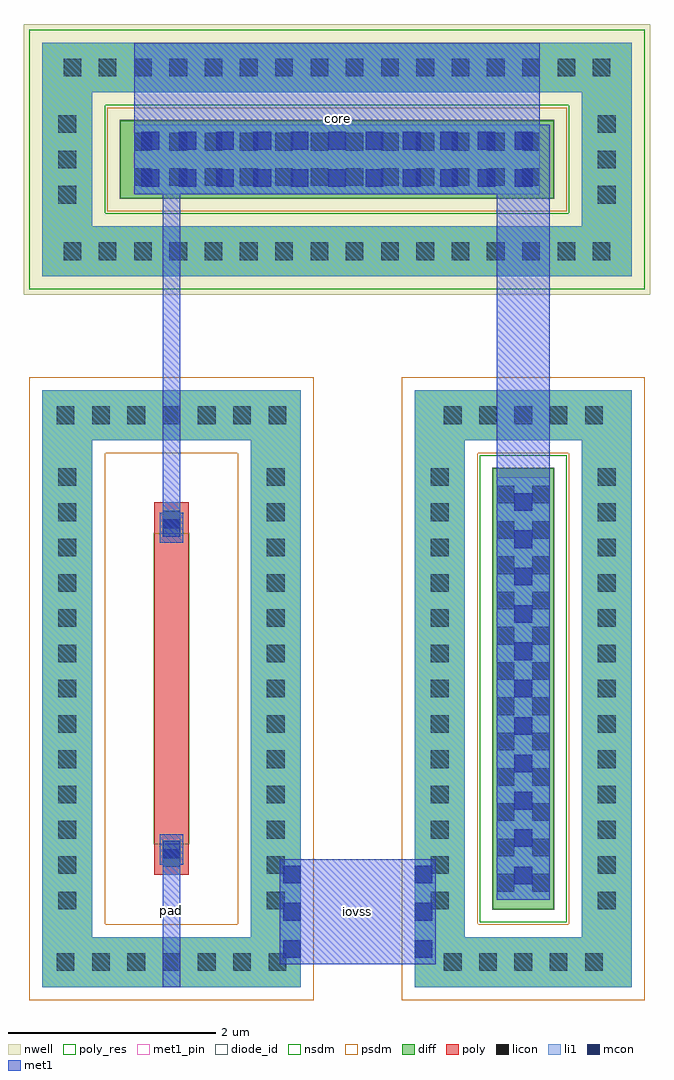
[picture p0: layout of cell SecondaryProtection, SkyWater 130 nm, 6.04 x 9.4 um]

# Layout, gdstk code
import gdstk
lib = gdstk.Library(unit=1e-6, precision=1e-09)
def R(c, l, rs):  # rectangles x0, y0, x1, y1
    for r in rs: c.add(gdstk.rectangle(r[:2], r[2:], *l))
def A(c, l, x, y, w, h, nx, ny, dx, dy):  # array of equal rectangles
    R(c, l, [(x+i*dx, y+j*dy, x+i*dx+w, y+j*dy+h) for i in range(nx) for j in range(ny)])
def P(c, l, *ps):  # polygons
    for p in ps: c.add(gdstk.Polygon(p, *l))
nwell = (64, 20)
diff = (65, 20)
poly_res = (66, 13)
poly = (66, 20)
licon = (66, 44)
li1 = (67, 20)
mcon = (67, 44)
met1_pin = (68, 16)
met1 = (68, 20)
diode_id = (81, 23)
nsdm = (93, 44)
psdm = (94, 20)

secondaryprotection = lib.new_cell('SecondaryProtection')
R(secondaryprotection, nwell, [(-0.18,6.67,5.86,9.28)])
R(secondaryprotection, diff, [(4.34,0.75,4.93,5), (0.75,7.6,4.93,8.35)])
P(secondaryprotection, diff, [(0,0),(0,5.27),(0.48,5.27),(0.48,0.48),(2.01,0.48),(2.01,5.27),(0,5.27),(0,5.75),(2.49,5.75),(2.49,0)],
  [(3.59,0),(3.59,5.27),(4.07,5.27),(4.07,0.48),(5.2,0.48),(5.2,5.27),(3.59,5.27),(3.59,5.75),(5.68,5.75),(5.68,0)],
  [(0,6.85),(0,8.62),(0.48,8.62),(0.48,7.33),(5.2,7.33),(5.2,8.62),(0,8.62),(0,9.1),(5.68,9.1),(5.68,6.85)])
R(secondaryprotection, poly_res, [(1.075,1.375,1.415,4.375)])
R(secondaryprotection, poly, [(1.08,1.08,1.41,4.67)])
A(secondaryprotection, licon, 0.14, 0.155, 0.17, 0.17, 7, 2, 0.34, 5.27)
A(secondaryprotection, licon, 3.87, 0.155, 0.17, 0.17, 5, 2, 0.34, 5.27)
A(secondaryprotection, licon, 0.155, 0.75, 0.17, 0.17, 1, 13, 0, 0.34)
A(secondaryprotection, licon, 2.165, 0.75, 0.17, 0.17, 1, 13, 0, 0.34)
A(secondaryprotection, licon, 3.745, 0.75, 0.17, 0.17, 1, 13, 0, 0.34)
A(secondaryprotection, licon, 5.355, 0.75, 0.17, 0.17, 1, 13, 0, 0.34)
A(secondaryprotection, licon, 4.38, 0.92, 0.17, 0.17, 1, 12, 0, 0.34)
A(secondaryprotection, licon, 4.72, 0.92, 0.17, 0.17, 1, 12, 0, 0.34)
A(secondaryprotection, licon, 0.205, 7.005, 0.17, 0.17, 16, 2, 0.34, 1.77)
A(secondaryprotection, licon, 0.155, 7.55, 0.17, 0.17, 1, 3, 0, 0.34)
A(secondaryprotection, licon, 5.355, 7.55, 0.17, 0.17, 1, 3, 0, 0.34)
A(secondaryprotection, licon, 0.885, 7.72, 0.17, 0.17, 12, 2, 0.34, 0.34)
R(secondaryprotection, licon, [(1.16,1.16,1.33,1.33), (1.16,4.42,1.33,4.59)])
R(secondaryprotection, li1, [(4.38,0.84,4.89,4.91), (1.16,1.08,1.33,1.41), (1.16,4.34,1.33,4.67), (0.885,7.64,4.795,8.31)])
P(secondaryprotection, li1, [(0,0),(0,5.27),(0.48,5.27),(0.48,0.48),(2.01,0.48),(2.01,5.27),(0,5.27),(0,5.75),(2.49,5.75),(2.49,0)],
  [(3.59,0),(3.59,5.27),(4.07,5.27),(4.07,0.48),(5.2,0.48),(5.2,5.27),(3.59,5.27),(3.59,5.75),(5.68,5.75),(5.68,0)],
  [(0,6.85),(0,8.62),(0.48,8.62),(0.48,7.33),(5.2,7.33),(5.2,8.62),(0,8.62),(0,9.1),(5.68,9.1),(5.68,6.85)])
A(secondaryprotection, mcon, 2.32, 0.28, 0.17, 0.17, 1, 3, 0, 0.36)
A(secondaryprotection, mcon, 3.59, 0.28, 0.17, 0.17, 1, 3, 0, 0.36)
A(secondaryprotection, mcon, 4.55, 0.99, 0.17, 0.17, 1, 11, 0, 0.36)
A(secondaryprotection, mcon, 0.955, 7.71, 0.17, 0.17, 11, 2, 0.36, 0.36)
R(secondaryprotection, mcon, [(1.16,1.24,1.33,1.41), (1.16,4.34,1.33,4.51)])
R(secondaryprotection, met1_pin, [(1.16,0,1.33,1.47), (2.29,0.22,3.79,1.23), (0.885,7.64,4.795,9.1)])
R(secondaryprotection, met1, [(2.29,0.22,3.79,1.23)])
P(secondaryprotection, met1, [(1.16,0),(1.16,1.18),(1.13,1.18),(1.13,1.47),(1.36,1.47),(1.36,1.18),(1.33,1.18),(1.33,0)],
  [(4.38,0.84),(4.38,7.64),(1.33,7.64),(1.33,4.57),(1.36,4.57),(1.36,4.28),(1.13,4.28),(1.13,4.57),(1.16,4.57),(1.16,7.64),(0.885,7.64),(0.885,9.1),(4.795,9.1),(4.795,8.31),(4.89,8.31),(4.89,0.84)])
R(secondaryprotection, diode_id, [(4.335,0.745,4.935,5.005), (0.745,7.595,4.935,8.355)])
R(secondaryprotection, nsdm, [(4.215,0.625,5.055,5.125)])
P(secondaryprotection, nsdm, [(-0.125,6.725),(-0.125,8.495),(0.605,8.495),(0.605,7.455),(5.075,7.455),(5.075,8.495),(-0.125,8.495),(-0.125,9.225),(5.805,9.225),(5.805,6.725)])
R(secondaryprotection, psdm, [(0.625,7.475,5.055,8.475)])
P(secondaryprotection, psdm, [(-0.125,-0.125),(-0.125,5.145),(0.605,5.145),(0.605,0.605),(1.885,0.605),(1.885,5.145),(-0.125,5.145),(-0.125,5.875),(2.615,5.875),(2.615,-0.125)],
  [(3.465,-0.125),(3.465,5.145),(4.195,5.145),(4.195,0.605),(5.075,0.605),(5.075,5.145),(3.465,5.145),(3.465,5.875),(5.805,5.875),(5.805,-0.125)])
secondaryprotection.add(gdstk.Label('pad', (1.245,0.735), layer=68, texttype=16))
secondaryprotection.add(gdstk.Label('core', (2.84,8.37), layer=68, texttype=16))
secondaryprotection.add(gdstk.Label('iovss', (3.04,0.725), layer=68, texttype=16))
secondaryprotection.add(gdstk.Label('pad', (1.245,0.735), layer=68, texttype=16))
secondaryprotection.add(gdstk.Label('core', (2.84,8.37), layer=68, texttype=16))
secondaryprotection.add(gdstk.Label('iovss', (3.04,0.725), layer=68, texttype=16))

lib.write_gds('SecondaryProtection.gds')
